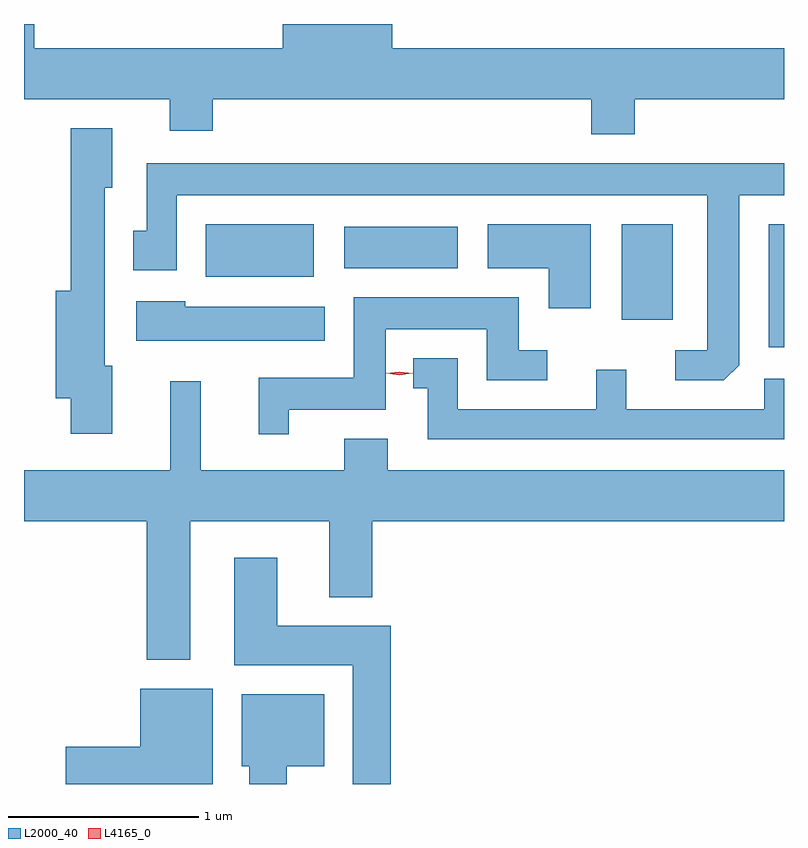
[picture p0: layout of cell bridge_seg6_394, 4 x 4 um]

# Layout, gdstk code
import gdstk
lib = gdstk.Library(unit=1e-6, precision=1e-09)
def R(c, l, rs):  # rectangles x0, y0, x1, y1
    for r in rs: c.add(gdstk.rectangle(r[:2], r[2:], *l))
def P(c, l, *ps):  # polygons
    for p in ps: c.add(gdstk.Polygon(p, *l))
L2000_40 = (2000, 40)
L4165_0 = (4165, 0)

bridge_seg6_394 = lib.new_cell('bridge_seg6_394')
R(bridge_seg6_394, L2000_40, [(883.486,1613.111,883.565,1613.759), (882.711,1613.256,882.979,1613.759), (880.521,1613.481,881.089,1613.759), (881.251,1613.526,881.849,1613.744)])
P(bridge_seg6_394, L2000_40, [(882.779,1614.416),(883.565,1614.416),(883.565,1614.684),(881.504,1614.684),(881.504,1614.812),(880.926,1614.812),(880.926,1614.684),(879.619,1614.684),(879.619,1614.812),(879.565,1614.812),(879.565,1614.416),(880.331,1614.416),(880.331,1614.251),(880.559,1614.251),(880.559,1614.416),(882.551,1614.416),(882.551,1614.231),(882.779,1614.231)],
  [(880.029,1613.014),(879.989,1613.014),(879.989,1613.951),(880.029,1613.951),(880.029,1614.264),(879.811,1614.264),(879.811,1613.409),(879.731,1613.409),(879.731,1612.841),(879.811,1612.841),(879.811,1612.656),(880.029,1612.656)],
  [(883.329,1613.017),(883.329,1613.911),(883.565,1613.911),(883.565,1614.079),(880.211,1614.079),(880.211,1613.724),(880.141,1613.724),(880.141,1613.516),(880.369,1613.516),(880.369,1613.911),(883.161,1613.911),(883.161,1613.094),(882.993,1613.094),(882.993,1612.936),(883.249,1612.936)],
  [(882.549,1613.759),(882.006,1613.759),(882.006,1613.526),(882.326,1613.526),(882.326,1613.316),(882.549,1613.316)],
  [(880.959,1612.781),(881.469,1612.781),(881.469,1613.206),(882.001,1613.206),(882.001,1612.936),(882.318,1612.936),(882.318,1613.094),(882.169,1613.094),(882.169,1613.374),(881.301,1613.374),(881.301,1612.949),(880.801,1612.949),(880.801,1612.653),(880.959,1612.653)],
  [(881.149,1613.324),(880.414,1613.324),(880.414,1613.354),(880.156,1613.354),(880.156,1613.146),(881.149,1613.146)],
  [(883.565,1612.944),(883.461,1612.944),(883.461,1612.784),(882.734,1612.784),(882.734,1612.993),(882.576,1612.993),(882.576,1612.784),(881.849,1612.784),(881.849,1613.054),(881.613,1613.054),(881.613,1612.896),(881.691,1612.896),(881.691,1612.626),(883.565,1612.626)],
  [(880.439,1612.196),(881.171,1612.196),(881.171,1611.796),(881.399,1611.796),(881.399,1612.196),(883.565,1612.196),(883.565,1612.464),(881.479,1612.464),(881.479,1612.629),(881.251,1612.629),(881.251,1612.464),(880.494,1612.464),(880.494,1612.933),(880.336,1612.933),(880.336,1612.464),(879.565,1612.464),(879.565,1612.196),(880.211,1612.196),(880.211,1611.466),(880.439,1611.466)],
  [(881.494,1611.644),(880.899,1611.644),(880.899,1612.004),(880.671,1612.004),(880.671,1611.436),(881.296,1611.436),(881.296,1610.812),(881.494,1610.812)],
  [(880.559,1611.314),(880.176,1611.314),(880.176,1611.009),(879.786,1611.009),(879.786,1610.812),(880.559,1610.812)],
  [(880.949,1610.906),(881.144,1610.906),(881.144,1611.284),(880.711,1611.284),(880.711,1610.906),(880.751,1610.906),(880.751,1610.812),(880.949,1610.812)])
P(bridge_seg6_394, L4165_0, [(881.541,1612.964),(881.472,1612.973),(881.472,1612.973),(881.472,1612.974),(881.541,1612.983),(881.611,1612.974),(881.611,1612.973),(881.611,1612.973)])

lib.write_gds('bridge_seg6_394.gds')
